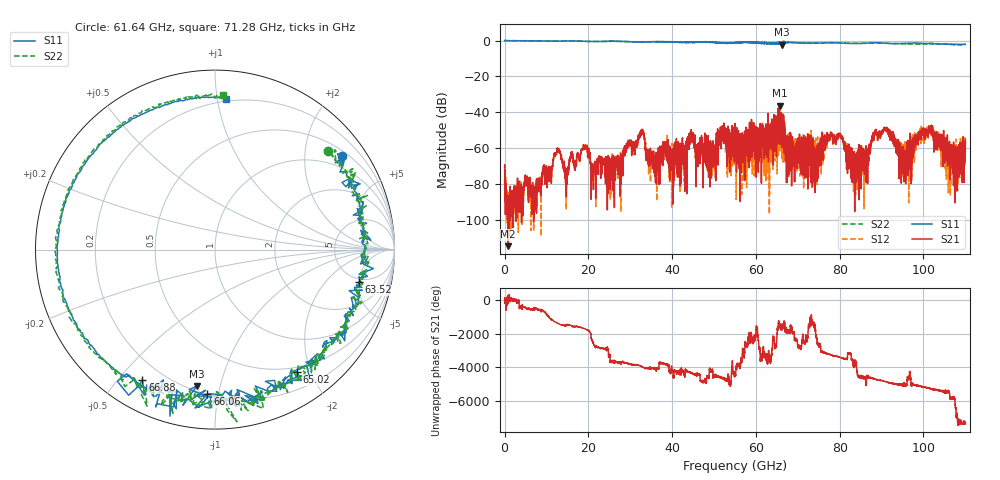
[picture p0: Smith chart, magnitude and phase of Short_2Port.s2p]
#  HZ  S  RI  R  50.00
! Rohde & Schwarz ZVA67 4Ports - Version 4.11 - 1305.7002k04 SN: 101032
! Date: 2026-02-18 15:42:57
! Measurements: S11 S21 S12 S22
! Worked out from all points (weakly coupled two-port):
!   5500 points, 20 MHz to 110 GHz, reference 50 ohm
!   highest |S21| = -36.35 dB at 65.64 GHz (marker M1); lowest = -114.6 dB at 880 MHz (marker M2)
!   lowest |S11| = -2.3 dB at 66.3 GHz (marker M3), VSWR 7.55, Z = 11.5 - j42.5 ohm
!   |S11| at or under -10 dB: nowhere
!   |S22| runs from -2.5 to 0.0 dB; largest |S21 - S12| = 0.013
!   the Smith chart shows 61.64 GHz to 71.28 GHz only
!   S11 on the Smith chart (normalised r, x): 61.64 GHz: 0.64, +2.93; 63.52 GHz: 4.49, -5.06; 65.02 GHz: 0.43, -1.80; 66.06 GHz: 0.20, -0.93; 66.88 GHz: 0.12, -0.58; 71.28 GHz: 0.18, +1.06
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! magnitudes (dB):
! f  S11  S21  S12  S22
! 20 MHz  -0.1  -70.7  -80.0  0.0
! 880 MHz  -0.1  -114.6  -110.8  -0.1
! 18.36 GHz  -0.4  -61.1  -61.2  -0.4
! 24.98 GHz  -0.4  -67.3  -69.2  -0.5
! 32.74 GHz  -0.9  -50.7  -50.8  -0.9
! 36.68 GHz  -0.6  -64.5  -67.0  -0.7
! 55.02 GHz  -1.2  -46.3  -54.2  -1.4
! 61.64 GHz  -1.1  -54.8  -53.8  -1.6
! 63.52 GHz  -1.7  -46.7  -52.6  -1.7
! 65.02 GHz  -1.7  -47.7  -53.7  -1.2
! 65.64 GHz  -1.0  -36.4  -48.8  -1.4
! 66.06 GHz  -1.9  -45.5  -58.5  -1.5
! 66.3 GHz  -2.3  -46.2  -53.1  -1.7
! 66.88 GHz  -1.6  -48.2  -56.1  -0.9
! 71.28 GHz  -1.5  -63.1  -55.7  -1.3
! 73.34 GHz  -1.5  -60.6  -60.0  -1.4
! 80.12 GHz  -1.4  -52.5  -52.9  -1.3
! 83.68 GHz  -1.7  -71.0  -73.9  -1.6
! 91.68 GHz  -1.7  -50.6  -51.6  -1.6
! 95.54 GHz  -1.6  -66.0  -72.0  -1.8
! 101.7 GHz  -1.7  -48.2  -51.4  -1.6
! 110 GHz  -2.1  -55.2  -56.2  -2.4
